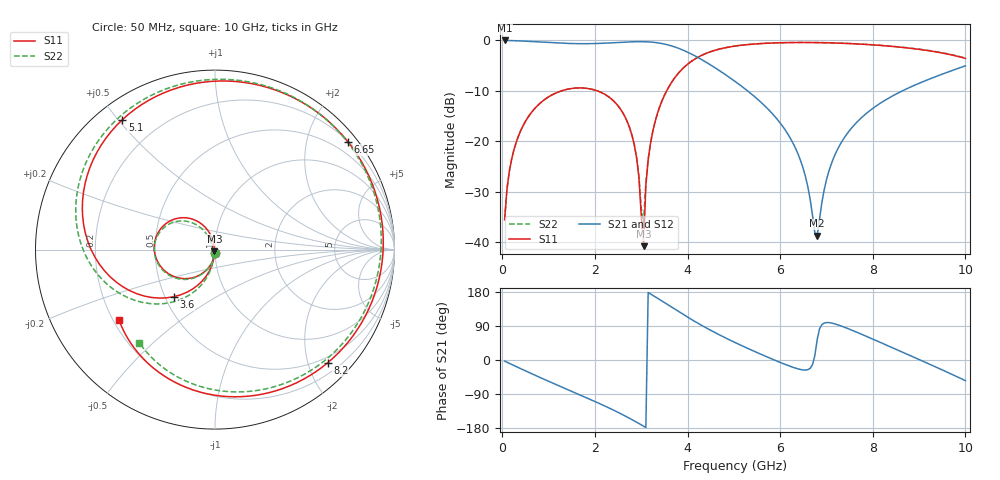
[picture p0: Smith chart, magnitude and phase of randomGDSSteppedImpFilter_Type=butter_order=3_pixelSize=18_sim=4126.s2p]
! freq	dB(S11)	phase(S11)	dB(S12)	phase(S12)
!  dB(S21)	phase(S21)	dB(S22)	phase(S22)
!S-par simulation data
#  GHz  S  DB  R 50
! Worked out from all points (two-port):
!   200 points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, 50 MHz to 10 GHz, reference 50 ohm
!   highest |S21| = -0.01 dB at 50 MHz (marker M1); lowest = -38.6 dB at 6.8 GHz (marker M2)
!   |S21| within 3 dB of the highest: start of sweep to 4.15 GHz
!   lowest |S11| = -40.7 dB at 3.05 GHz (marker M3), VSWR 1.02, Z = 49.7 - j0.851 ohm
!   |S11| at or under -10 dB: start of sweep to 1.273 GHz; 2.057 GHz to 3.548 GHz (1.491 GHz wide, 53.2 % of centre)
!   |S22| runs from -36.0 to -0.4 dB; largest |S21 - S12| = 0
!   S11 on the Smith chart (normalised r, x): 50 MHz: 1.00, -0.03; 3.6 GHz: 0.55, -0.33; 5.1 GHz: 0.07, +0.51; 6.65 GHz: 0.21, +2.81; 8.2 GHz: 0.39, -2.35; 10 GHz: 0.22, -0.31
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0.05  -35.51 -92.9  -0.01 -2.9  -0.01 -2.9  -35.51 -92.8
0.2  -23.58 -102.0  -0.04 -11.6  -0.04 -11.6  -23.58 -101.6
0.5  -16.02 -119.6  -0.15 -28.7  -0.15 -28.7  -16.02 -118.7
1.75  -9.42 171.8  -0.65 -96.0  -0.65 -96.0  -9.42 175.4
2.75  -17.30 113.7  -0.29 -154.0  -0.29 -154.0  -17.29 122.1
2.95  -27.04 102.9  -0.24 -167.5  -0.24 -167.5  -26.81 119.9
3.05  -40.73 -111.3  -0.25 -174.6  -0.25 -174.6  -36.01 -138.9
3.15  -23.67 -98.8  -0.29 178.1  -0.29 178.1  -23.45 -101.4
3.4  -13.13 -115.9  -0.54 159.3  -0.54 159.3  -13.09 -112.1
3.6  -9.13 -131.2  -0.94 143.8  -0.94 143.8  -9.11 -126.0
4.35  -2.76 172.8  -4.03 88.3  -4.03 88.3  -2.75 -178.8
5.05  -1.08 128.4  -8.27 44.7  -8.27 44.7  -1.07 139.4
5.1  -1.02 125.5  -8.61 41.9  -8.61 41.9  -1.01 136.6
6.15  -0.43 66.5  -18.30 -13.6  -18.30 -13.6  -0.42 81.0
6.65  -0.41 39.0  -31.56 -21.7  -31.56 -21.7  -0.40 54.7
6.7  -0.42 36.3  -34.71 -12.1  -34.71 -12.1  -0.41 52.1
6.8  -0.43 30.8  -38.64 54.0  -38.64 54.0  -0.42 46.7
7.2  -0.51 8.9  -22.31 94.6  -22.31 94.6  -0.50 25.2
8.2  -1.01 -45.2  -12.21 44.5  -12.21 44.5  -0.99 -29.4
8.35  -1.13 -53.2  -11.38 36.4  -11.38 36.4  -1.10 -37.6
9.15  -1.95 -95.8  -7.92 -6.9  -7.92 -6.9  -1.92 -81.4
10  -3.56 -143.6  -5.03 -54.5  -5.03 -54.5  -3.50 -129.1
